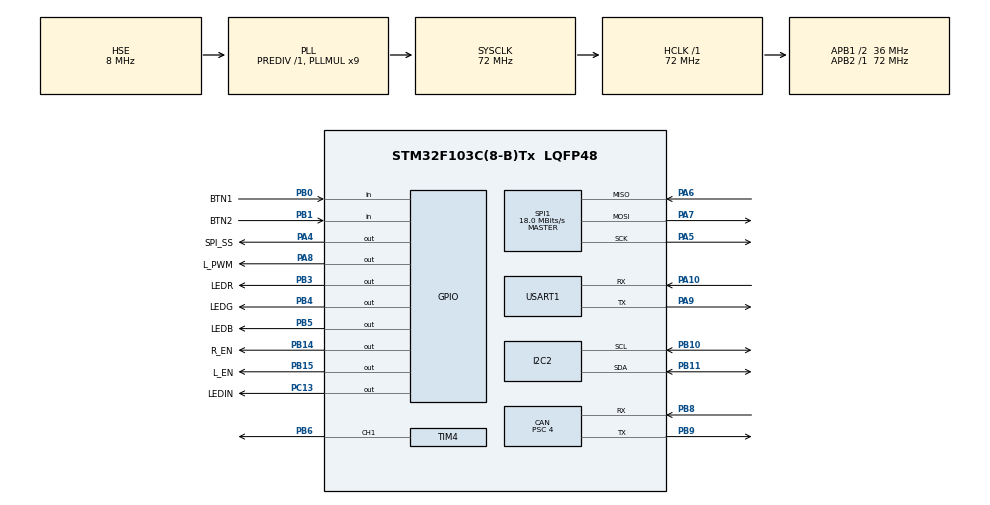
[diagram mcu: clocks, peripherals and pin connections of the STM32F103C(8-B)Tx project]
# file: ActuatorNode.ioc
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CAN.BS1=CAN_BS1_13TQ
CAN.BS2=CAN_BS2_4TQ
CAN.CalculateBaudRate=500000
CAN.CalculateTimeBit=2000
CAN.CalculateTimeQuantum=111.11111111111111
CAN.Prescaler=4
CAN.SJW=CAN_SJW_2TQ
Mcu.Family=STM32F1
Mcu.Name=STM32F103C(8-B)Tx
Mcu.Package=LQFP48
NVIC.CAN1_RX1_IRQn=true\:0\:0\:false\:false\:true\:true\:true\:true
NVIC.PriorityGroup=NVIC_PRIORITYGROUP_4
NVIC.TIM2_IRQn=true\:0\:0\:false\:false\:true\:true\:true\:true
NVIC.TIM3_IRQn=true\:0\:0\:false\:false\:true\:true\:true\:true
PA10.Mode=Asynchronous
PA10.Signal=USART1_RX
PA13.Mode=Serial_Wire
PA13.Signal=SYS_JTMS-SWDIO
PA14.Mode=Serial_Wire
PA14.Signal=SYS_JTCK-SWCLK
PA4.GPIO_Label=SPI_SS
PA4.Signal=GPIO_Output
PA5.Mode=Full_Duplex_Master
PA5.Signal=SPI1_SCK
PA6.Mode=Full_Duplex_Master
PA6.Signal=SPI1_MISO
PA7.Mode=Full_Duplex_Master
PA7.Signal=SPI1_MOSI
PA8.GPIO_Label=L_PWM
PA8.Signal=GPIO_Output
PA9.Mode=Asynchronous
PA9.Signal=USART1_TX
PB0.GPIO_Label=BTN1
PB0.Signal=GPIO_Input
PB1.GPIO_Label=BTN2
PB1.Signal=GPIO_Input
PB10.Mode=I2C
PB10.Signal=I2C2_SCL
PB11.Mode=I2C
PB11.Signal=I2C2_SDA
PB14.GPIO_Label=R_EN
PB14.Signal=GPIO_Output
PB15.GPIO_Label=L_EN
PB15.Signal=GPIO_Output
PB3.GPIO_Label=LEDR
PB3.PinState=GPIO_PIN_SET
PB3.Signal=GPIO_Output
PB4.GPIO_Label=LEDG
PB4.PinState=GPIO_PIN_SET
PB4.Signal=GPIO_Output
PB5.GPIO_Label=LEDB
PB5.PinState=GPIO_PIN_SET
PB5.Signal=GPIO_Output
PB6.Signal=S_TIM4_CH1
PB8.Mode=CAN_Activate
PB8.Signal=CAN_RX
PB9.Mode=CAN_Activate
PB9.Signal=CAN_TX
PC13-TAMPER-RTC.GPIO_Label=LEDIN
PC13-TAMPER-RTC.Signal=GPIO_Output
PD0-OSC_IN.Mode=HSE-External-Oscillator
PD0-OSC_IN.Signal=RCC_OSC_IN
PD1-OSC_OUT.Mode=HSE-External-Oscillator
PD1-OSC_OUT.Signal=RCC_OSC_OUT
ProjectManager.HeapSize=0x200
ProjectManager.StackSize=0x400
ProjectManager.TargetToolchain=STM32CubeIDE
RCC.AHBFreq_Value=72000000
RCC.APB1CLKDivider=RCC_HCLK_DIV2
RCC.APB1Freq_Value=36000000
RCC.APB1TimFreq_Value=72000000
RCC.APB2Freq_Value=72000000
RCC.APB2TimFreq_Value=72000000
RCC.HCLKFreq_Value=72000000
RCC.PLLMUL=RCC_PLL_MUL9
RCC.PLLSourceVirtual=RCC_PLLSOURCE_HSE
RCC.SYSCLKFreq_VALUE=72000000
RCC.SYSCLKSource=RCC_SYSCLKSOURCE_PLLCLK
RCC.USBFreq_Value=72000000
SH.S_TIM4_CH1.0=TIM4_CH1,PWM Generation1 CH1
SPI1.BaudRatePrescaler=SPI_BAUDRATEPRESCALER_4
SPI1.CalculateBaudRate=18.0 MBits/s
SPI1.Direction=SPI_DIRECTION_2LINES
SPI1.Mode=SPI_MODE_MASTER
SPI1.VirtualType=VM_MASTER
TIM2.Period=199
TIM2.Prescaler=7199
TIM3.Period=199
TIM3.Prescaler=35999
TIM4.Channel-PWM\ Generation1\ CH1=TIM_CHANNEL_1
USART1.VirtualMode=VM_ASYNC
VP_TIM2_VS_ClockSourceINT.Mode=Internal
VP_TIM3_VS_ClockSourceINT.Mode=Internal
board=custom

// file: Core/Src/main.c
/* USER CODE BEGIN Header */
/**
  ******************************************************************************
  * @file           : main.c
  * @brief          : Main program body
  ******************************************************************************
  * @attention
  *
  * Copyright (c) 2023 STMicroelectronics.
  * All rights reserved.
  *
  * This software is licensed under terms that can be found in the LICENSE file
  * in the root directory of this software component.
  * If no LICENSE file comes with this software, it is provided AS-IS.
  *
  ******************************************************************************
  */
/* USER CODE END Header */
#include "main.h"

/* USER CODE BEGIN Includes */
#include "gpio.h"
#include "timer.h"
#include "uart.h"
#include "can.h"
/* USER CODE END Includes */

CAN_HandleTypeDef hcan;

I2C_HandleTypeDef hi2c2;

SPI_HandleTypeDef hspi1;

TIM_HandleTypeDef htim2;
TIM_HandleTypeDef htim3;
TIM_HandleTypeDef htim4;

UART_HandleTypeDef huart1;

/* USER CODE BEGIN PV */
/* CAN Tx variables */
int CANDataTxFlag = 0;

/* CAN Rx variables */
extern uint8_t CANRxBuffer[];
extern int CANDataRcvFlag;
extern CAN_RxHeaderTypeDef CANRxHeader;
/* USER CODE END PV */

void SystemClock_Config(void);
static void MX_GPIO_Init(void);
static void MX_I2C2_Init(void);
static void MX_SPI1_Init(void);
static void MX_TIM2_Init(void);
static void MX_TIM3_Init(void);
static void MX_TIM4_Init(void);
static void MX_USART1_UART_Init(void);
static void MX_CAN_Init(void);

/* USER CODE BEGIN 0 */

void HAL_TIM_PeriodElapsedCallback(TIM_HandleTypeDef *htim)
{
 if(htim->Instance == htim2.Instance)
 {
   HAL_GPIO_TogglePin(ACTUATOR_GPIO_PORT, LEDR_Pin);
   CANDataTxFlag = 1;
 }
}
/* USER CODE END 0 */

int main(void)
{

  /* MCU Configuration--------------------------------------------------------*/

  /* Reset of all peripherals, Initializes the Flash interface and the Systick. */
  HAL_Init();

  /* Configure the system clock */
  SystemClock_Config();

  /* Initialize all configured peripherals */
  MX_GPIO_Init();
  MX_I2C2_Init();
  MX_SPI1_Init();
  MX_TIM2_Init();
  MX_TIM3_Init();
  MX_TIM4_Init();
  MX_USART1_UART_Init();
  MX_CAN_Init();
  /* USER CODE BEGIN 2 */
//  HAL_TIM_Base_Start_IT(&htim3);
  if (HAL_CAN_Start(&hcan) != HAL_OK)
  {
	  Error_Handler();
  }
  HAL_CAN_ActivateNotification(&hcan, CAN_IT_RX_FIFO1_MSG_PENDING);
  HAL_TIM_Base_Start_IT(&htim2);
  printf("Actuator\n");

  //  Monitor_Show();
  /* USER CODE END 2 */

  /* Infinite loop */
  /* USER CODE BEGIN WHILE */
    while (1)
    {
    	if (CANDataRcvFlag == 1)
    	{
    		CANDataRcvFlag = 0;
			HAL_TIM_Base_Start_IT(&htim2);
    		while (CANDataTxFlag != 1);
    		genMessageResponse();
    		CAN_Transmit(&hcan);
    		HAL_TIM_Base_Stop_IT(&htim2);
    	}
    /* USER CODE END WHILE */

    }
}

void SystemClock_Config(void)
{
  RCC_OscInitTypeDef RCC_OscInitStruct = {0};
  RCC_ClkInitTypeDef RCC_ClkInitStruct = {0};

  /** Initializes the RCC Oscillators according to the specified parameters
  * in the RCC_OscInitTypeDef structure.
  */
  RCC_OscInitStruct.OscillatorType = RCC_OSCILLATORTYPE_HSE;
  RCC_OscInitStruct.HSEState = RCC_HSE_ON;
  RCC_OscInitStruct.HSEPredivValue = RCC_HSE_PREDIV_DIV1;
  RCC_OscInitStruct.HSIState = RCC_HSI_ON;
  RCC_OscInitStruct.PLL.PLLState = RCC_PLL_ON;
  RCC_OscInitStruct.PLL.PLLSource = RCC_PLLSOURCE_HSE;
  RCC_OscInitStruct.PLL.PLLMUL = RCC_PLL_MUL9;
  if (HAL_RCC_OscConfig(&RCC_OscInitStruct) != HAL_OK)
  {
    Error_Handler();
  }

  /** Initializes the CPU, AHB and APB buses clocks
  */
  RCC_ClkInitStruct.ClockType = RCC_CLOCKTYPE_HCLK|RCC_CLOCKTYPE_SYSCLK
                              |RCC_CLOCKTYPE_PCLK1|RCC_CLOCKTYPE_PCLK2;
  RCC_ClkInitStruct.SYSCLKSource = RCC_SYSCLKSOURCE_PLLCLK;
  RCC_ClkInitStruct.AHBCLKDivider = RCC_SYSCLK_DIV1;
  RCC_ClkInitStruct.APB1CLKDivider = RCC_HCLK_DIV2;
  RCC_ClkInitStruct.APB2CLKDivider = RCC_HCLK_DIV1;

  if (HAL_RCC_ClockConfig(&RCC_ClkInitStruct, FLASH_LATENCY_2) != HAL_OK)
  {
    Error_Handler();
  }
}

static void MX_CAN_Init(void)
{

  hcan.Instance = CAN1;
  hcan.Init.Prescaler = 4;
  hcan.Init.Mode = CAN_MODE_NORMAL;
  hcan.Init.SyncJumpWidth = CAN_SJW_2TQ;
  hcan.Init.TimeSeg1 = CAN_BS1_13TQ;
  hcan.Init.TimeSeg2 = CAN_BS2_4TQ;
  hcan.Init.TimeTriggeredMode = DISABLE;
  hcan.Init.AutoBusOff = DISABLE;
  hcan.Init.AutoWakeUp = DISABLE;
  hcan.Init.AutoRetransmission = DISABLE;
  hcan.Init.ReceiveFifoLocked = DISABLE;
  hcan.Init.TransmitFifoPriority = DISABLE;
  if (HAL_CAN_Init(&hcan) != HAL_OK)
  {
    Error_Handler();
  }
  /* USER CODE BEGIN CAN_Init 2 */
  CAN_FilterTypeDef canfilterconfig;

  canfilterconfig.FilterActivation = CAN_FILTER_ENABLE;
  canfilterconfig.FilterBank = 12;  // which filter bank to use from the assigned ones
  canfilterconfig.FilterFIFOAssignment = CAN_FILTER_FIFO1;
  canfilterconfig.FilterIdHigh = 0x0a2<<5;
  canfilterconfig.FilterIdLow = 0;
  canfilterconfig.FilterMaskIdHigh = 0x0a2<<5;
  canfilterconfig.FilterMaskIdLow = 0x0000;
  canfilterconfig.FilterMode = CAN_FILTERMODE_IDMASK;
  canfilterconfig.FilterScale = CAN_FILTERSCALE_32BIT;
  canfilterconfig.SlaveStartFilterBank = 13;  // how many filters to assign to the CAN1 (master can)

  HAL_CAN_ConfigFilter(&hcan, &canfilterconfig);
  /* USER CODE END CAN_Init 2 */

}

static void MX_I2C2_Init(void)
{

  hi2c2.Instance = I2C2;
  hi2c2.Init.ClockSpeed = 100000;
  hi2c2.Init.DutyCycle = I2C_DUTYCYCLE_2;
  hi2c2.Init.OwnAddress1 = 0;
  hi2c2.Init.AddressingMode = I2C_ADDRESSINGMODE_7BIT;
  hi2c2.Init.DualAddressMode = I2C_DUALADDRESS_DISABLE;
  hi2c2.Init.OwnAddress2 = 0;
  hi2c2.Init.GeneralCallMode = I2C_GENERALCALL_DISABLE;
  hi2c2.Init.NoStretchMode = I2C_NOSTRETCH_DISABLE;
  if (HAL_I2C_Init(&hi2c2) != HAL_OK)
  {
    Error_Handler();
  }

}

static void MX_SPI1_Init(void)
{

  /* SPI1 parameter configuration*/
  hspi1.Instance = SPI1;
  hspi1.Init.Mode = SPI_MODE_MASTER;
  hspi1.Init.Direction = SPI_DIRECTION_2LINES;
  hspi1.Init.DataSize = SPI_DATASIZE_8BIT;
  hspi1.Init.CLKPolarity = SPI_POLARITY_LOW;
  hspi1.Init.CLKPhase = SPI_PHASE_1EDGE;
  hspi1.Init.NSS = SPI_NSS_SOFT;
  hspi1.Init.BaudRatePrescaler = SPI_BAUDRATEPRESCALER_4;
  hspi1.Init.FirstBit = SPI_FIRSTBIT_MSB;
  hspi1.Init.TIMode = SPI_TIMODE_DISABLE;
  hspi1.Init.CRCCalculation = SPI_CRCCALCULATION_DISABLE;
  hspi1.Init.CRCPolynomial = 10;
  if (HAL_SPI_Init(&hspi1) != HAL_OK)
  {
    Error_Handler();
  }

}

static void MX_TIM2_Init(void)
{

  TIM_ClockConfigTypeDef sClockSourceConfig = {0};
  TIM_MasterConfigTypeDef sMasterConfig = {0};

  htim2.Instance = TIM2;
  htim2.Init.Prescaler = 7199;
  htim2.Init.CounterMode = TIM_COUNTERMODE_UP;
  htim2.Init.Period = 199;
  htim2.Init.ClockDivision = TIM_CLOCKDIVISION_DIV1;
  htim2.Init.AutoReloadPreload = TIM_AUTORELOAD_PRELOAD_DISABLE;
  if (HAL_TIM_Base_Init(&htim2) != HAL_OK)
  {
    Error_Handler();
  }
  sClockSourceConfig.ClockSource = TIM_CLOCKSOURCE_INTERNAL;
  if (HAL_TIM_ConfigClockSource(&htim2, &sClockSourceConfig) != HAL_OK)
  {
    Error_Handler();
  }
  sMasterConfig.MasterOutputTrigger = TIM_TRGO_RESET;
  sMasterConfig.MasterSlaveMode = TIM_MASTERSLAVEMODE_DISABLE;
  if (HAL_TIMEx_MasterConfigSynchronization(&htim2, &sMasterConfig) != HAL_OK)
  {
    Error_Handler();
  }

}

static void MX_TIM3_Init(void)
{

  TIM_ClockConfigTypeDef sClockSourceConfig = {0};
  TIM_MasterConfigTypeDef sMasterConfig = {0};

  htim3.Instance = TIM3;
  htim3.Init.Prescaler = 35999;
  htim3.Init.CounterMode = TIM_COUNTERMODE_UP;
  htim3.Init.Period = 199;
  htim3.Init.ClockDivision = TIM_CLOCKDIVISION_DIV1;
  htim3.Init.AutoReloadPreload = TIM_AUTORELOAD_PRELOAD_DISABLE;
  if (HAL_TIM_Base_Init(&htim3) != HAL_OK)
  {
    Error_Handler();
  }
  sClockSourceConfig.ClockSource = TIM_CLOCKSOURCE_INTERNAL;
  if (HAL_TIM_ConfigClockSource(&htim3, &sClockSourceConfig) != HAL_OK)
  {
    Error_Handler();
  }
  sMasterConfig.MasterOutputTrigger = TIM_TRGO_RESET;
  sMasterConfig.MasterSlaveMode = TIM_MASTERSLAVEMODE_DISABLE;
  if (HAL_TIMEx_MasterConfigSynchronization(&htim3, &sMasterConfig) != HAL_OK)
  {
    Error_Handler();
  }

}

static void MX_TIM4_Init(void)
{

  TIM_MasterConfigTypeDef sMasterConfig = {0};
  TIM_OC_InitTypeDef sConfigOC = {0};

  htim4.Instance = TIM4;
  htim4.Init.Prescaler = 0;
  htim4.Init.CounterMode = TIM_COUNTERMODE_UP;
  htim4.Init.Period = 65535;
  htim4.Init.ClockDivision = TIM_CLOCKDIVISION_DIV1;
  htim4.Init.AutoReloadPreload = TIM_AUTORELOAD_PRELOAD_DISABLE;
  if (HAL_TIM_PWM_Init(&htim4) != HAL_OK)
  {
    Error_Handler();
  }
  sMasterConfig.MasterOutputTrigger = TIM_TRGO_RESET;
  sMasterConfig.MasterSlaveMode = TIM_MASTERSLAVEMODE_DISABLE;
  if (HAL_TIMEx_MasterConfigSynchronization(&htim4, &sMasterConfig) != HAL_OK)
  {
    Error_Handler();
  }
  sConfigOC.OCMode = TIM_OCMODE_PWM1;
  sConfigOC.Pulse = 0;
  sConfigOC.OCPolarity = TIM_OCPOLARITY_HIGH;
  sConfigOC.OCFastMode = TIM_OCFAST_DISABLE;
  if (HAL_TIM_PWM_ConfigChannel(&htim4, &sConfigOC, TIM_CHANNEL_1) != HAL_OK)
  {
    Error_Handler();
  }
  HAL_TIM_MspPostInit(&htim4);

}

static void MX_USART1_UART_Init(void)
{

  huart1.Instance = USART1;
  huart1.Init.BaudRate = 115200;
  huart1.Init.WordLength = UART_WORDLENGTH_8B;
  huart1.Init.StopBits = UART_STOPBITS_1;
  huart1.Init.Parity = UART_PARITY_NONE;
  huart1.Init.Mode = UART_MODE_TX_RX;
  huart1.Init.HwFlowCtl = UART_HWCONTROL_NONE;
  huart1.Init.OverSampling = UART_OVERSAMPLING_16;
  if (HAL_UART_Init(&huart1) != HAL_OK)
  {
    Error_Handler();
  }

}

static void MX_GPIO_Init(void)
{
  GPIO_InitTypeDef GPIO_InitStruct = {0};

  /* GPIO Ports Clock Enable */
  __HAL_RCC_GPIOC_CLK_ENABLE();
  __HAL_RCC_GPIOD_CLK_ENABLE();
  __HAL_RCC_GPIOA_CLK_ENABLE();
  __HAL_RCC_GPIOB_CLK_ENABLE();

  /*Configure GPIO pin Output Level */
  HAL_GPIO_WritePin(LEDIN_GPIO_Port, LEDIN_Pin, GPIO_PIN_RESET);

  /*Configure GPIO pin Output Level */
  HAL_GPIO_WritePin(GPIOA, SPI_SS_Pin|L_PWM_Pin, GPIO_PIN_RESET);

  /*Configure GPIO pin Output Level */
  HAL_GPIO_WritePin(GPIOB, R_EN_Pin|L_EN_Pin, GPIO_PIN_RESET);

  /*Configure GPIO pin Output Level */
  HAL_GPIO_WritePin(GPIOB, LEDR_Pin|LEDG_Pin|LEDB_Pin, GPIO_PIN_SET);

  /*Configure GPIO pin : LEDIN_Pin */
  GPIO_InitStruct.Pin = LEDIN_Pin;
  GPIO_InitStruct.Mode = GPIO_MODE_OUTPUT_PP;
  GPIO_InitStruct.Pull = GPIO_NOPULL;
  GPIO_InitStruct.Speed = GPIO_SPEED_FREQ_LOW;
  HAL_GPIO_Init(LEDIN_GPIO_Port, &GPIO_InitStruct);

  /*Configure GPIO pins : SPI_SS_Pin L_PWM_Pin */
  GPIO_InitStruct.Pin = SPI_SS_Pin|L_PWM_Pin;
  GPIO_InitStruct.Mode = GPIO_MODE_OUTPUT_PP;
  GPIO_InitStruct.Pull = GPIO_NOPULL;
  GPIO_InitStruct.Speed = GPIO_SPEED_FREQ_LOW;
  HAL_GPIO_Init(GPIOA, &GPIO_InitStruct);

  /*Configure GPIO pins : BTN1_Pin BTN2_Pin */
  GPIO_InitStruct.Pin = BTN1_Pin|BTN2_Pin;
  GPIO_InitStruct.Mode = GPIO_MODE_INPUT;
  GPIO_InitStruct.Pull = GPIO_NOPULL;
  HAL_GPIO_Init(GPIOB, &GPIO_InitStruct);

  /*Configure GPIO pins : R_EN_Pin L_EN_Pin LEDR_Pin LEDG_Pin
                           LEDB_Pin */
  GPIO_InitStruct.Pin = R_EN_Pin|L_EN_Pin|LEDR_Pin|LEDG_Pin
                          |LEDB_Pin;
  GPIO_InitStruct.Mode = GPIO_MODE_OUTPUT_PP;
  GPIO_InitStruct.Pull = GPIO_NOPULL;
  GPIO_InitStruct.Speed = GPIO_SPEED_FREQ_LOW;
  HAL_GPIO_Init(GPIOB, &GPIO_InitStruct);

}

void Error_Handler(void)
{
  __disable_irq();
  while (1)
  {
  }
}
